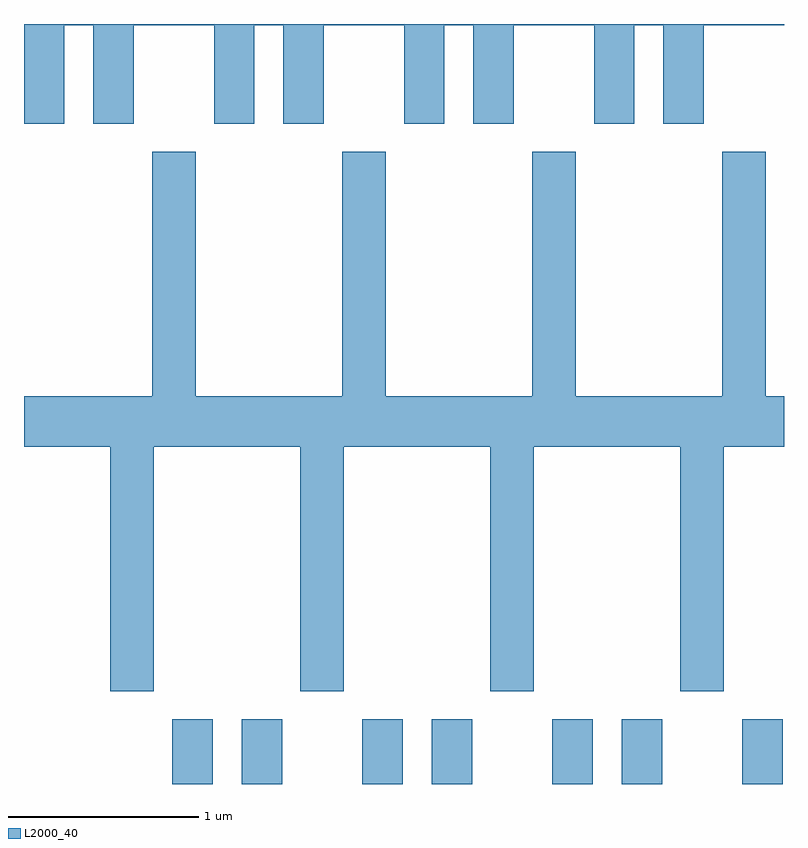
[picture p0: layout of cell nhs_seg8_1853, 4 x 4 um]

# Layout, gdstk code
import gdstk
lib = gdstk.Library(unit=1e-6, precision=1e-09)
def R(c, l, rs):  # rectangles x0, y0, x1, y1
    for r in rs: c.add(gdstk.rectangle(r[:2], r[2:], *l))
def P(c, l, *ps):  # polygons
    for p in ps: c.add(gdstk.Polygon(p, *l))
L2000_40 = (2000, 40)

nhs_seg8_1853 = lib.new_cell('nhs_seg8_1853')
R(nhs_seg8_1853, L2000_40, [(240.391,1912.342,240.604,1912.684), (240.756,1912.342,240.969,1912.684), (241.391,1912.342,241.604,1912.684), (241.756,1912.342,241.969,1912.684), (242.391,1912.342,242.604,1912.684), (242.756,1912.342,242.969,1912.684), (243.391,1912.342,243.604,1912.684)])
P(nhs_seg8_1853, L2000_40, [(239.611,1915.816),(239.824,1915.816),(239.824,1916.336),(239.976,1916.336),(239.976,1915.816),(240.189,1915.816),(240.189,1916.336),(240.611,1916.336),(240.611,1915.816),(240.824,1915.816),(240.824,1916.336),(240.976,1916.336),(240.976,1915.816),(241.189,1915.816),(241.189,1916.336),(241.611,1916.336),(241.611,1915.816),(241.824,1915.816),(241.824,1916.336),(241.976,1916.336),(241.976,1915.816),(242.189,1915.816),(242.189,1916.336),(242.611,1916.336),(242.611,1915.816),(242.824,1915.816),(242.824,1916.336),(242.976,1916.336),(242.976,1915.816),(243.189,1915.816),(243.189,1916.336),(243.611,1916.336),(243.611,1916.342),(239.611,1916.342)],
  [(240.294,1914.116),(241.066,1914.116),(241.066,1912.831),(241.294,1912.831),(241.294,1914.116),(242.066,1914.116),(242.066,1912.831),(242.294,1912.831),(242.294,1914.116),(243.066,1914.116),(243.066,1912.831),(243.294,1912.831),(243.294,1914.116),(243.611,1914.116),(243.611,1914.384),(243.514,1914.384),(243.514,1915.669),(243.286,1915.669),(243.286,1914.384),(242.514,1914.384),(242.514,1915.669),(242.286,1915.669),(242.286,1914.384),(241.514,1914.384),(241.514,1915.669),(241.286,1915.669),(241.286,1914.384),(240.514,1914.384),(240.514,1915.669),(240.286,1915.669),(240.286,1914.384),(239.611,1914.384),(239.611,1914.116),(240.066,1914.116),(240.066,1912.831),(240.294,1912.831)])

lib.write_gds('nhs_seg8_1853.gds')
